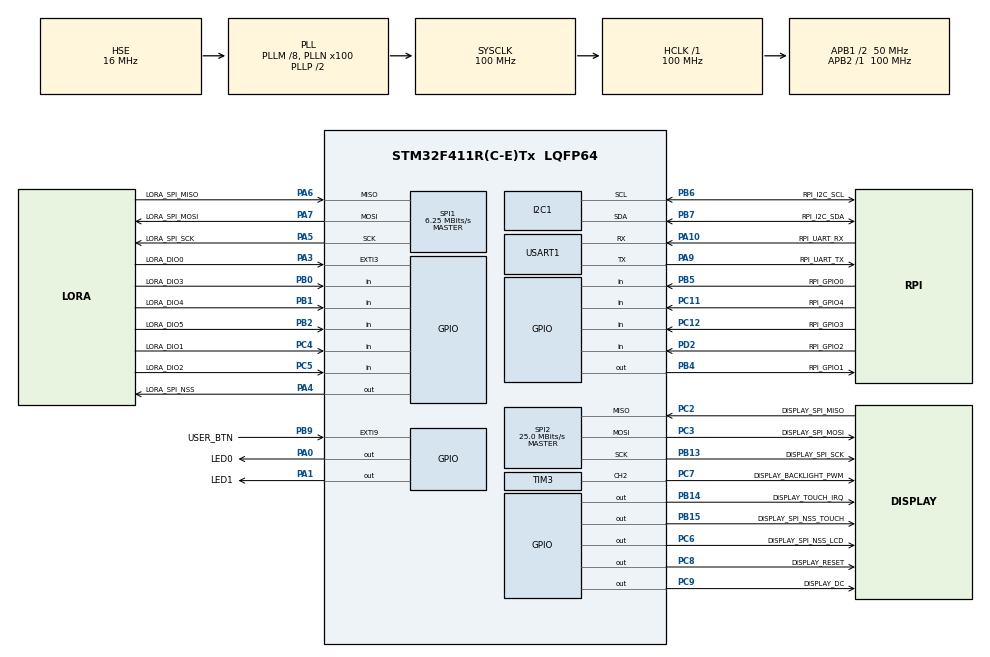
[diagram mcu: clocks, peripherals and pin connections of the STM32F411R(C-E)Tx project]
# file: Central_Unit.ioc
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FREERTOS.Queues01=RadioPacketQueue,5,uint32_t,0,Dynamic,NULL,NULL
FREERTOS.Tasks01=defaultTask,0,128,StartDefaultTask,Default,NULL,Dynamic,NULL,NULL;LedTask,-2,128,LedTaskFunction,As weak,NULL,Dynamic,NULL,NULL;RadioTask,1,512,RadioTaskFunction,As weak,NULL,Dynamic,NULL,NULL;RaspberryPiTask,2,512,RaspberryPiTaskFunction,As weak,NULL,Dynamic,NULL,NULL;GPIOTask,1,128,GPIOTaskFunction,As weak,NULL,Dynamic,NULL,NULL
FREERTOS.configTOTAL_HEAP_SIZE=65536
I2C1.GeneralCallMode=I2C_GENERALCALL_ENABLE
I2C1.NoStretchMode=I2C_NOSTRETCH_ENABLE
I2C1.OwnAddress=17
Mcu.Family=STM32F4
Mcu.Name=STM32F411R(C-E)Tx
Mcu.Package=LQFP64
NVIC.EXTI3_IRQn=true\:5\:0\:false\:false\:true\:true\:true
NVIC.EXTI9_5_IRQn=true\:5\:0\:false\:false\:true\:true\:true
NVIC.I2C1_ER_IRQn=true\:5\:0\:false\:false\:true\:true\:true
NVIC.I2C1_EV_IRQn=true\:5\:0\:false\:false\:true\:true\:true
NVIC.PriorityGroup=NVIC_PRIORITYGROUP_4
NVIC.SPI1_IRQn=true\:5\:0\:false\:false\:true\:true\:true
NVIC.TIM1_UP_TIM10_IRQn=true\:0\:0\:false\:false\:true\:false\:false
NVIC.TIM2_IRQn=true\:5\:0\:false\:false\:true\:true\:true
NVIC.TimeBase=TIM1_UP_TIM10_IRQn
NVIC.TimeBaseIP=TIM1
PA0-WKUP.GPIO_Label=LED0
PA0-WKUP.Signal=GPIO_Output
PA1.GPIO_Label=LED1
PA1.Signal=GPIO_Output
PA10.GPIO_Label=RPI_UART_RX
PA10.Mode=Asynchronous
PA10.Signal=USART1_RX
PA3.GPIO_Label=LORA_DIO0
PA3.Signal=GPXTI3
PA4.GPIO_Label=LORA_SPI_NSS
PA4.Signal=GPIO_Output
PA5.GPIO_Label=LORA_SPI_SCK
PA5.Mode=Full_Duplex_Master
PA5.Signal=SPI1_SCK
PA6.GPIO_Label=LORA_SPI_MISO
PA6.Mode=Full_Duplex_Master
PA6.Signal=SPI1_MISO
PA7.GPIO_Label=LORA_SPI_MOSI
PA7.Mode=Full_Duplex_Master
PA7.Signal=SPI1_MOSI
PA9.GPIO_Label=RPI_UART_TX
PA9.Mode=Asynchronous
PA9.Signal=USART1_TX
PB0.GPIO_Label=LORA_DIO3
PB0.Signal=GPIO_Input
PB1.GPIO_Label=LORA_DIO4
PB1.Signal=GPIO_Input
PB13.GPIO_Label=DISPLAY_SPI_SCK
PB13.Mode=Full_Duplex_Master
PB13.Signal=SPI2_SCK
PB14.GPIO_Label=DISPLAY_TOUCH_IRQ
PB14.Signal=GPIO_Output
PB15.GPIO_Label=DISPLAY_SPI_NSS_TOUCH
PB15.Signal=GPIO_Output
PB2.GPIO_Label=LORA_DIO5
PB2.Signal=GPIO_Input
PB4.GPIO_Label=RPI_GPIO1
PB4.Signal=GPIO_Output
PB5.GPIO_Label=RPI_GPIO0
PB5.Signal=GPIO_Input
PB6.GPIO_Label=RPI_I2C_SCL
PB6.Mode=I2C
PB6.Signal=I2C1_SCL
PB7.GPIO_Label=RPI_I2C_SDA
PB7.Mode=I2C
PB7.Signal=I2C1_SDA
PB9.GPIO_Label=USER_BTN
PB9.Signal=GPXTI9
PC11.GPIO_Label=RPI_GPIO4
PC11.Signal=GPIO_Input
PC12.GPIO_Label=RPI_GPIO3
PC12.Signal=GPIO_Input
PC2.GPIO_Label=DISPLAY_SPI_MISO
PC2.Mode=Full_Duplex_Master
PC2.Signal=SPI2_MISO
PC3.GPIO_Label=DISPLAY_SPI_MOSI
PC3.Mode=Full_Duplex_Master
PC3.Signal=SPI2_MOSI
PC4.GPIO_Label=LORA_DIO1
PC4.Signal=GPIO_Input
PC5.GPIO_Label=LORA_DIO2
PC5.Signal=GPIO_Input
PC6.GPIO_Label=DISPLAY_SPI_NSS_LCD
PC6.Signal=GPIO_Output
PC7.GPIO_Label=DISPLAY_BACKLIGHT_PWM
PC7.Signal=S_TIM3_CH2
PC8.GPIO_Label=DISPLAY_RESET
PC8.Signal=GPIO_Output
PC9.GPIO_Label=DISPLAY_DC
PC9.Signal=GPIO_Output
PD2.GPIO_Label=RPI_GPIO2
PD2.Signal=GPIO_Input
PH0\ -\ OSC_IN.Mode=HSE-External-Oscillator
PH0\ -\ OSC_IN.Signal=RCC_OSC_IN
PH1\ -\ OSC_OUT.Mode=HSE-External-Oscillator
PH1\ -\ OSC_OUT.Signal=RCC_OSC_OUT
ProjectManager.HeapSize=0x200
ProjectManager.StackSize=0x400
ProjectManager.TargetToolchain=SW4STM32
RCC.48MHZClocksFreq_Value=50000000
RCC.AHBFreq_Value=100000000
RCC.APB1CLKDivider=RCC_HCLK_DIV2
RCC.APB1Freq_Value=50000000
RCC.APB1TimFreq_Value=100000000
RCC.APB2Freq_Value=100000000
RCC.APB2TimFreq_Value=100000000
RCC.CortexFreq_Value=100000000
RCC.HCLKFreq_Value=100000000
RCC.HSE_VALUE=16000000
RCC.HSI_VALUE=16000000
RCC.LSE_VALUE=32768
RCC.PLLM=8
RCC.PLLN=100
RCC.PLLSourceVirtual=RCC_PLLSOURCE_HSE
RCC.SYSCLKFreq_VALUE=100000000
RCC.SYSCLKSource=RCC_SYSCLKSOURCE_PLLCLK
RCC.VCOOutputFreq_Value=200000000
SH.S_TIM3_CH2.0=TIM3_CH2,PWM Generation2 CH2
SPI1.BaudRatePrescaler=SPI_BAUDRATEPRESCALER_16
SPI1.CalculateBaudRate=6.25 MBits/s
SPI1.Direction=SPI_DIRECTION_2LINES
SPI1.Mode=SPI_MODE_MASTER
SPI1.VirtualType=VM_MASTER
SPI2.BaudRatePrescaler=SPI_BAUDRATEPRESCALER_2
SPI2.CalculateBaudRate=25.0 MBits/s
SPI2.Direction=SPI_DIRECTION_2LINES
SPI2.Mode=SPI_MODE_MASTER
SPI2.VirtualType=VM_MASTER
TIM2.ClockDivision=TIM_CLOCKDIVISION_DIV1
TIM2.Period=100000000
TIM2.Prescaler=2
TIM3.Channel-PWM\ Generation2\ CH2=TIM_CHANNEL_2
USART1.VirtualMode=VM_ASYNC
VP_FREERTOS_VS_ENABLE.Mode=Enabled
VP_SYS_VS_tim1.Mode=TIM1
VP_TIM2_VS_ClockSourceINT.Mode=Internal
board=custom

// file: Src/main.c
/**
  ******************************************************************************
  * @file           : main.c
  * @brief          : Main program body
  ******************************************************************************
  * This notice applies to any and all portions of this file
  * that are not between comment pairs USER CODE BEGIN and
  * USER CODE END. Other portions of this file, whether
  * inserted by the user or by software development tools
  * are owned by their respective copyright owners.
  *
  * Copyright (c) 2018 STMicroelectronics International N.V.
  * All rights reserved.
  *
  * Redistribution and use in source and binary forms, with or without
  * modification, are permitted, provided that the following conditions are met:
  *
  * 1. Redistribution of source code must retain the above copyright notice,
  *    this list of conditions and the following disclaimer.
  * 2. Redistributions in binary form must reproduce the above copyright notice,
  *    this list of conditions and the following disclaimer in the documentation
  *    and/or other materials provided with the distribution.
  * 3. Neither the name of STMicroelectronics nor the names of other
  *    contributors to this software may be used to endorse or promote products
  *    derived from this software without specific written permission.
  * 4. This software, including modifications and/or derivative works of this
  *    software, must execute solely and exclusively on microcontroller or
  *    microprocessor devices manufactured by or for STMicroelectronics.
  * 5. Redistribution and use of this software other than as permitted under
  *    this license is void and will automatically terminate your rights under
  *    this license.
  *
  * THIS SOFTWARE IS PROVIDED BY STMICROELECTRONICS AND CONTRIBUTORS "AS IS"
  * AND ANY EXPRESS, IMPLIED OR STATUTORY WARRANTIES, INCLUDING, BUT NOT
  * LIMITED TO, THE IMPLIED WARRANTIES OF MERCHANTABILITY, FITNESS FOR A
  * PARTICULAR PURPOSE AND NON-INFRINGEMENT OF THIRD PARTY INTELLECTUAL PROPERTY
  * RIGHTS ARE DISCLAIMED TO THE FULLEST EXTENT PERMITTED BY LAW. IN NO EVENT
  * SHALL STMICROELECTRONICS OR CONTRIBUTORS BE LIABLE FOR ANY DIRECT, INDIRECT,
  * INCIDENTAL, SPECIAL, EXEMPLARY, OR CONSEQUENTIAL DAMAGES (INCLUDING, BUT NOT
  * LIMITED TO, PROCUREMENT OF SUBSTITUTE GOODS OR SERVICES; LOSS OF USE, DATA,
  * OR PROFITS; OR BUSINESS INTERRUPTION) HOWEVER CAUSED AND ON ANY THEORY OF
  * LIABILITY, WHETHER IN CONTRACT, STRICT LIABILITY, OR TORT (INCLUDING
  * NEGLIGENCE OR OTHERWISE) ARISING IN ANY WAY OUT OF THE USE OF THIS SOFTWARE,
  * EVEN IF ADVISED OF THE POSSIBILITY OF SUCH DAMAGE.
  *
  ******************************************************************************
  */
#include "main.h"
#include "stm32f4xx_hal.h"
#include "cmsis_os.h"
#include "i2c.h"
#include "spi.h"
#include "tim.h"
#include "usart.h"
#include "gpio.h"

/* USER CODE BEGIN Includes */
#include "led.h"
#include "SX1278.h"
#include "radio.h"
#include "RaspberryPi.h"
/* USER CODE END Includes */

/* USER CODE BEGIN PV */
/* Private variables ---------------------------------------------------------*/

/* USER CODE END PV */

void SystemClock_Config(void);
void MX_FREERTOS_Init(void);

/* USER CODE BEGIN PFP */
/* Private function prototypes -----------------------------------------------*/

/* USER CODE END PFP */

int main(void)
{

  /* MCU Configuration----------------------------------------------------------*/

  /* Reset of all peripherals, Initializes the Flash interface and the Systick. */
  HAL_Init();

  /* Configure the system clock */
  SystemClock_Config();

  /* Initialize all configured peripherals */
  MX_GPIO_Init();
  MX_I2C1_Init();
  MX_SPI1_Init();
  MX_SPI2_Init();
  MX_TIM3_Init();
  MX_USART1_UART_Init();
  MX_TIM2_Init();

  /* Call init function for freertos objects (in freertos.c) */
  MX_FREERTOS_Init();

  /* Start scheduler */
  osKernelStart();

  /* We should never get here as control is now taken by the scheduler */

  /* Infinite loop */
  while (1)
  {

  }

}

void SystemClock_Config(void)
{

  RCC_OscInitTypeDef RCC_OscInitStruct;
  RCC_ClkInitTypeDef RCC_ClkInitStruct;

    /**Configure the main internal regulator output voltage
    */
  __HAL_RCC_PWR_CLK_ENABLE();

  __HAL_PWR_VOLTAGESCALING_CONFIG(PWR_REGULATOR_VOLTAGE_SCALE1);

    /**Initializes the CPU, AHB and APB busses clocks
    */
  RCC_OscInitStruct.OscillatorType = RCC_OSCILLATORTYPE_HSE;
  RCC_OscInitStruct.HSEState = RCC_HSE_ON;
  RCC_OscInitStruct.PLL.PLLState = RCC_PLL_ON;
  RCC_OscInitStruct.PLL.PLLSource = RCC_PLLSOURCE_HSE;
  RCC_OscInitStruct.PLL.PLLM = 8;
  RCC_OscInitStruct.PLL.PLLN = 100;
  RCC_OscInitStruct.PLL.PLLP = RCC_PLLP_DIV2;
  RCC_OscInitStruct.PLL.PLLQ = 4;
  if (HAL_RCC_OscConfig(&RCC_OscInitStruct) != HAL_OK)
  {
    _Error_Handler(__FILE__, __LINE__);
  }

    /**Initializes the CPU, AHB and APB busses clocks
    */
  RCC_ClkInitStruct.ClockType = RCC_CLOCKTYPE_HCLK|RCC_CLOCKTYPE_SYSCLK
                              |RCC_CLOCKTYPE_PCLK1|RCC_CLOCKTYPE_PCLK2;
  RCC_ClkInitStruct.SYSCLKSource = RCC_SYSCLKSOURCE_PLLCLK;
  RCC_ClkInitStruct.AHBCLKDivider = RCC_SYSCLK_DIV1;
  RCC_ClkInitStruct.APB1CLKDivider = RCC_HCLK_DIV2;
  RCC_ClkInitStruct.APB2CLKDivider = RCC_HCLK_DIV1;

  if (HAL_RCC_ClockConfig(&RCC_ClkInitStruct, FLASH_LATENCY_3) != HAL_OK)
  {
    _Error_Handler(__FILE__, __LINE__);
  }

    /**Configure the Systick interrupt time
    */
  HAL_SYSTICK_Config(HAL_RCC_GetHCLKFreq()/1000);

    /**Configure the Systick
    */
  HAL_SYSTICK_CLKSourceConfig(SYSTICK_CLKSOURCE_HCLK);

  /* SysTick_IRQn interrupt configuration */
  HAL_NVIC_SetPriority(SysTick_IRQn, 15, 0);
}

/* USER CODE BEGIN 4 */

void HAL_I2C_ListenCpltCallback(I2C_HandleTypeDef *hi2c)
{
	HAL_I2C_EnableListen_IT(&hi2c1);
}

void HAL_I2C_SlaveTxCpltCallback(I2C_HandleTypeDef *hi2c)
{
	HAL_I2C_EnableListen_IT(&hi2c1);
	RaspberryPiSetI2CState(I2CLAZY);
}

void HAL_GPIO_EXTI_Callback(uint16_t GPIO_Pin)
{
	if (GPIO_Pin == LORA_DIO0_Pin)
	{
		/* TxDone or RxDone */
		if (RadioGetState() == Rx)
		{
			/* RxDone -> Packet processing */
			RadioSetRxModeState(RADIO_NOT_INRXMODE);
			RadioSetState(PacketReceived);
			HAL_TIM_Base_Stop_IT(&htim2);
		}
	}
}

/* USER CODE END 4 */

void HAL_TIM_PeriodElapsedCallback(TIM_HandleTypeDef *htim)
{
  if (htim->Instance == TIM1) {
    HAL_IncTick();
  }
  /* USER CODE BEGIN Callback 1 */
  if (htim->Instance == TIM2)
  {
	  RadioSetState(ChangeChannel);
  }
  /* USER CODE END Callback 1 */
}

void _Error_Handler(char *file, int line)
{
  while(1)
  {
  }
}

/************************ (C) COPYRIGHT STMicroelectronics *****END OF FILE****/

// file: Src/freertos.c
/* USER CODE BEGIN Header */
/**
  ******************************************************************************
  * File Name          : freertos.c
  * Description        : Code for freertos applications
  ******************************************************************************
  * This notice applies to any and all portions of this file
  * that are not between comment pairs USER CODE BEGIN and
  * USER CODE END. Other portions of this file, whether
  * inserted by the user or by software development tools
  * are owned by their respective copyright owners.
  *
  * Copyright (c) 2018 STMicroelectronics International N.V.
  * All rights reserved.
  *
  * Redistribution and use in source and binary forms, with or without
  * modification, are permitted, provided that the following conditions are met:
  *
  * 1. Redistribution of source code must retain the above copyright notice,
  *    this list of conditions and the following disclaimer.
  * 2. Redistributions in binary form must reproduce the above copyright notice,
  *    this list of conditions and the following disclaimer in the documentation
  *    and/or other materials provided with the distribution.
  * 3. Neither the name of STMicroelectronics nor the names of other
  *    contributors to this software may be used to endorse or promote products
  *    derived from this software without specific written permission.
  * 4. This software, including modifications and/or derivative works of this
  *    software, must execute solely and exclusively on microcontroller or
  *    microprocessor devices manufactured by or for STMicroelectronics.
  * 5. Redistribution and use of this software other than as permitted under
  *    this license is void and will automatically terminate your rights under
  *    this license.
  *
  * THIS SOFTWARE IS PROVIDED BY STMICROELECTRONICS AND CONTRIBUTORS "AS IS"
  * AND ANY EXPRESS, IMPLIED OR STATUTORY WARRANTIES, INCLUDING, BUT NOT
  * LIMITED TO, THE IMPLIED WARRANTIES OF MERCHANTABILITY, FITNESS FOR A
  * PARTICULAR PURPOSE AND NON-INFRINGEMENT OF THIRD PARTY INTELLECTUAL PROPERTY
  * RIGHTS ARE DISCLAIMED TO THE FULLEST EXTENT PERMITTED BY LAW. IN NO EVENT
  * SHALL STMICROELECTRONICS OR CONTRIBUTORS BE LIABLE FOR ANY DIRECT, INDIRECT,
  * INCIDENTAL, SPECIAL, EXEMPLARY, OR CONSEQUENTIAL DAMAGES (INCLUDING, BUT NOT
  * LIMITED TO, PROCUREMENT OF SUBSTITUTE GOODS OR SERVICES; LOSS OF USE, DATA,
  * OR PROFITS; OR BUSINESS INTERRUPTION) HOWEVER CAUSED AND ON ANY THEORY OF
  * LIABILITY, WHETHER IN CONTRACT, STRICT LIABILITY, OR TORT (INCLUDING
  * NEGLIGENCE OR OTHERWISE) ARISING IN ANY WAY OUT OF THE USE OF THIS SOFTWARE,
  * EVEN IF ADVISED OF THE POSSIBILITY OF SUCH DAMAGE.
  *
  ******************************************************************************
  */
/* USER CODE END Header */

#include "FreeRTOS.h"
#include "task.h"
#include "main.h"
#include "cmsis_os.h"

osThreadId defaultTaskHandle;
osThreadId LedTaskHandle;
osThreadId RadioTaskHandle;
osThreadId RaspberryPiTaskHandle;
osThreadId GPIOTaskHandle;
osMessageQId RadioPacketQueueHandle;

void StartDefaultTask(void const * argument);
void LedTaskFunction(void const * argument);
void RadioTaskFunction(void const * argument);
void RaspberryPiTaskFunction(void const * argument);
void GPIOTaskFunction(void const * argument);

void MX_FREERTOS_Init(void); /* (MISRA C 2004 rule 8.1) */

void MX_FREERTOS_Init(void) {

  /* Create the thread(s) */
  /* definition and creation of defaultTask */
  osThreadDef(defaultTask, StartDefaultTask, osPriorityNormal, 0, 128);
  defaultTaskHandle = osThreadCreate(osThread(defaultTask), NULL);

  /* definition and creation of LedTask */
  osThreadDef(LedTask, LedTaskFunction, osPriorityLow, 0, 128);
  LedTaskHandle = osThreadCreate(osThread(LedTask), NULL);

  /* definition and creation of RadioTask */
  osThreadDef(RadioTask, RadioTaskFunction, osPriorityAboveNormal, 0, 512);
  RadioTaskHandle = osThreadCreate(osThread(RadioTask), NULL);

  /* definition and creation of RaspberryPiTask */
  osThreadDef(RaspberryPiTask, RaspberryPiTaskFunction, osPriorityHigh, 0, 512);
  RaspberryPiTaskHandle = osThreadCreate(osThread(RaspberryPiTask), NULL);

  /* definition and creation of GPIOTask */
  osThreadDef(GPIOTask, GPIOTaskFunction, osPriorityAboveNormal, 0, 128);
  GPIOTaskHandle = osThreadCreate(osThread(GPIOTask), NULL);

  /* Create the queue(s) */
  /* definition and creation of RadioPacketQueue */
/* what about the sizeof here??? cd native code */
  osMessageQDef(RadioPacketQueue, 5, uint32_t);
  RadioPacketQueueHandle = osMessageCreate(osMessageQ(RadioPacketQueue), NULL);

}

void StartDefaultTask(void const * argument)
{

  for(;;)
  {
    osDelay(1);
  }
}

__weak void LedTaskFunction(void const * argument)
{
  for(;;)
  {
    osDelay(1);
  }
}

__weak void RadioTaskFunction(void const * argument)
{
  for(;;)
  {
    osDelay(1);
  }
}

__weak void RaspberryPiTaskFunction(void const * argument)
{
  for(;;)
  {
    osDelay(1);
  }
}

__weak void GPIOTaskFunction(void const * argument)
{
  for(;;)
  {
    osDelay(1);
  }
}

/************************ (C) COPYRIGHT STMicroelectronics *****END OF FILE****/
